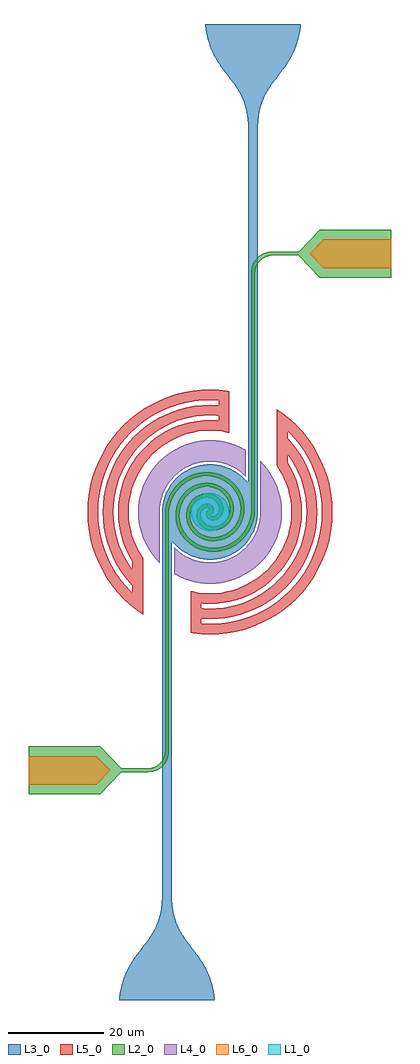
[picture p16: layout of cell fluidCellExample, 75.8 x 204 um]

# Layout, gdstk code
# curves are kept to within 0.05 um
import gdstk
lib = gdstk.Library(unit=1e-6, precision=1e-09)
def P(c, l, *ps):  # polygons
    for p in ps: c.add(gdstk.Polygon(p, *l))
L1_0 = (1, 0)
L2_0 = (2, 0)
L3_0 = (3, 0)
L4_0 = (4, 0)
L5_0 = (5, 0)
L6_0 = (6, 0)

fluidcellexample = lib.new_cell('fluidCellExample')
P(fluidcellexample, L1_0, [(0,-4),(-0.85,-3.909),(-1.662,-3.639),(-2.163,-3.365),(-2.828,-2.828),(-3.365,-2.163),(-3.639,-1.662),(-3.909,-0.85),(-4,0),(-3.909,0.85),(-3.639,1.662),(-3.365,2.163),(-2.828,2.828),(-2.163,3.365),(-1.662,3.639),(-0.85,3.909),(0,4),(0.85,3.909),(1.662,3.639),(2.163,3.365),(2.828,2.828),(3.365,2.163),(3.639,1.662),(3.909,0.85),(4,0),(3.909,-0.85),(3.639,-1.662),(3.365,-2.163),(2.828,-2.828),(2.163,-3.365),(1.662,-3.639),(0.85,-3.909)])
P(fluidcellexample, L2_0, [(0,-0.441),(0,1.575),(0.557,1.154),(0.742,0.816),(0.802,0.485),(0.753,0.164),(0.589,-0.126),(0.367,-0.306)],
  [(0.647,-1.703),(0,-1.575),(0,-0.495),(0.159,-0.748),(0.525,-0.896),(0.912,-0.867),(1.315,-0.671),(1.623,-0.363),(1.837,0.03),(1.943,0.47),(1.94,0.936),(1.734,1.62),(1.297,2.237),(0.714,2.684),(0,2.965),(0,3.783),(0.945,3.467),(1.796,2.869),(2.408,2.059),(2.73,1.065),(2.677,0.039),(2.51,-0.431),(2.249,-0.862),(1.92,-1.212),(1.522,-1.482),(1.075,-1.651)],
  [(0.691,-3.848),(0,-3.783),(0,-2.965),(0.757,-3.048),(1.597,-2.917),(2.355,-2.585),(3.014,-2.078),(3.559,-1.402),(3.92,-0.658),(4.116,0.134),(4.141,1.064),(4.035,1.71),(3.81,2.389),(3.108,3.531),(2.456,4.17),(1.673,4.686),(0.879,5.021),(0,5.221),(0,6.028),(0.955,5.834),(1.838,5.498),(2.733,4.966),(3.46,4.335),(4.023,3.65),(4.481,2.849),(4.8,1.949),(4.942,1.08),(4.921,0.121),(4.72,-0.792),(4.333,-1.666),(3.823,-2.386),(3.13,-3.029),(2.38,-3.475),(1.541,-3.757)],
  [(0.721,-6.07),(0,-6.028),(0,-5.221),(1.312,-5.236),(2.012,-5.109),(2.753,-4.866),(3.993,-4.165),(5.05,-3.144),(5.679,-2.185),(6.104,-1.159),(6.342,-0.049),(6.379,1.042),(6.241,2.08),(5.907,3.162),(5.384,4.189),(4.68,5.129),(3.7,6.036),(2.542,6.753),(1.388,7.205),(0,7.473),(0,8.277),(1.378,8.038),(2.605,7.607),(3.863,6.904),(4.956,6.001),(5.852,4.933),(6.498,3.809),(6.954,2.539),(7.178,1.083),(7.107,-0.359),(6.779,-1.664),(6.218,-2.859),(5.364,-4.004),(4.365,-4.884),(3.233,-5.531),(2.021,-5.928)],
  [(0.753,-8.307),(0,-8.277),(0,-7.473),(1.66,-7.448),(3.311,-7.049),(4.865,-6.282),(6.124,-5.285),(7.033,-4.236),(7.724,-3.105),(8.232,-1.86),(8.537,-0.533),(8.595,-0.039),(8.595,49.943),(9.395,49.943),(9.395,-0.075),(9.329,-0.65),(8.937,-2.279),(8.311,-3.709),(7.462,-4.994),(6.42,-6.102),(5.147,-7.049),(3.745,-7.741),(2.18,-8.178)],
  [(0,-1.575),(-0.557,-1.154),(-0.742,-0.816),(-0.802,-0.485),(-0.753,-0.164),(-0.589,0.126),(-0.367,0.306),(0,0.441)],
  [(0,-3.783),(-0.945,-3.467),(-1.796,-2.869),(-2.408,-2.059),(-2.716,-1.157),(-2.702,-0.15),(-2.396,0.645),(-1.785,1.318),(-1.417,1.533),(-0.967,1.674),(-0.481,1.696),(0,1.575),(0,0.495),(-0.159,0.748),(-0.525,0.896),(-0.936,0.86),(-1.339,0.653),(-1.653,0.322),(-1.857,-0.084),(-1.949,-0.531),(-1.927,-1.024),(-1.712,-1.664),(-1.297,-2.237),(-0.714,-2.684),(0,-2.965)],
  [(0,-6.028),(-0.955,-5.834),(-1.786,-5.523),(-2.592,-5.065),(-3.341,-4.454),(-3.991,-3.695),(-4.435,-2.946),(-4.759,-2.101),(-4.928,-1.234),(-4.944,-0.37),(-4.802,0.511),(-4.508,1.329),(-4.053,2.098),(-3.474,2.744),(-2.726,3.295),(-1.985,3.633),(-1.135,3.824),(0,3.783),(0,2.965),(-0.821,3.046),(-1.63,2.907),(-2.416,2.548),(-3.093,1.999),(-3.6,1.335),(-3.959,0.544),(-4.136,-0.3),(-4.128,-1.193),(-3.81,-2.389),(-3.108,-3.531),(-2.456,-4.17),(-1.673,-4.686),(-0.879,-5.021),(0,-5.221)],
  [(0,-8.277),(-1.378,-8.038),(-2.605,-7.607),(-3.797,-6.949),(-4.9,-6.056),(-5.808,-4.995),(-6.498,-3.809),(-6.935,-2.61),(-7.157,-1.375),(-7.159,-0.069),(-6.909,1.262),(-6.419,2.496),(-5.673,3.645),(-4.732,4.601),(-3.698,5.302),(-2.512,5.8),(-1.277,6.044),(0,6.028),(0,5.221),(-1.258,5.242),(-2.543,4.947),(-3.709,4.364),(-4.655,3.588),(-5.499,2.503),(-6.046,1.336),(-6.342,0.049),(-6.366,-1.237),(-6.196,-2.273),(-5.828,-3.348),(-5.31,-4.305),(-4.634,-5.181),(-3.7,-6.036),(-2.542,-6.753),(-1.388,-7.205),(0,-7.473)],
  [(-9.395,-49.943),(-9.395,0.075),(-9.315,0.743),(-8.937,2.279),(-8.222,3.868),(-7.291,5.204),(-6.082,6.389),(-4.769,7.268),(-3.257,7.912),(-1.592,8.261),(0,8.277),(0,7.473),(-1.584,7.457),(-3.164,7.101),(-4.594,6.448),(-5.887,5.506),(-6.834,4.498),(-7.608,3.327),(-8.179,2.022),(-8.511,0.703),(-8.595,0.039),(-8.595,-49.943)],
  [(-37.9,-59),(-37.9,-49),(-22.9,-49),(-18.5,-53.6),(-13,-53.6),(-12.172,-53.504),(-11.446,-53.247),(-10.741,-52.803),(-10.197,-52.259),(-9.781,-51.611),(-9.496,-50.828),(-9.4,-50),(-9.4,0),(-8.6,0),(-8.6,-50),(-8.718,-51.012),(-9.065,-51.97),(-9.574,-52.761),(-10.239,-53.426),(-11.03,-53.935),(-11.912,-54.263),(-12.921,-54.399),(-18.5,-54.4),(-22.9,-59)],
  [(8.6,0),(8.6,50),(8.718,51.012),(9.065,51.97),(9.574,52.761),(10.239,53.426),(11.03,53.935),(11.912,54.263),(12.921,54.399),(18.5,54.4),(22.9,59),(37.9,59),(37.9,49),(22.9,49),(18.5,53.6),(13,53.6),(12.172,53.504),(11.446,53.247),(10.741,52.803),(10.197,52.259),(9.781,51.611),(9.496,50.828),(9.4,50),(9.4,0)])
P(fluidcellexample, L3_0, [(-19,-102),(-18.815,-100.523),(-18.494,-98.966),(-18.076,-97.565),(-17.574,-96.301),(-16.916,-94.994),(-16.097,-93.662),(-12.955,-89.435),(-11.643,-87.313),(-11.057,-86.039),(-10.58,-84.623),(-10.267,-83.243),(-10.069,-81.71),(-10,-80),(-10,0),(-9.975,0.713),(-9.771,2.126),(-9.369,3.495),(-8.777,4.792),(-8.005,5.993),(-7.071,7.071),(-5.993,8.005),(-4.792,8.777),(-3.495,9.369),(-2.126,9.771),(-0.713,9.975),(0.713,9.975),(2.126,9.771),(3.495,9.369),(4.792,8.777),(5.993,8.005),(7.071,7.071),(8,5.999),(8,80),(7.91,81.939),(7.695,83.449),(7.367,84.809),(6.943,86.039),(6.357,87.313),(5.045,89.435),(1.903,93.662),(1.084,94.994),(0.426,96.301),(-0.076,97.565),(-0.494,98.966),(-0.815,100.523),(-1,102),(19,102),(18.815,100.523),(18.494,98.966),(18.076,97.565),(17.574,96.301),(16.916,94.994),(16.097,93.662),(12.955,89.435),(11.643,87.313),(11.057,86.039),(10.58,84.623),(10.267,83.243),(10.069,81.71),(10,80),(10,0),(9.975,-0.713),(9.771,-2.126),(9.369,-3.495),(8.777,-4.792),(8.005,-5.993),(7.071,-7.071),(5.993,-8.005),(4.792,-8.777),(3.495,-9.369),(2.126,-9.771),(0.713,-9.975),(-0.713,-9.975),(-2.126,-9.771),(-3.495,-9.369),(-4.792,-8.777),(-5.993,-8.005),(-7.071,-7.071),(-8,-5.999),(-8,-80),(-7.91,-81.939),(-7.695,-83.449),(-7.367,-84.809),(-6.943,-86.039),(-6.357,-87.313),(-5.045,-89.435),(-1.903,-93.662),(-1.084,-94.994),(-0.426,-96.301),(0.076,-97.565),(0.494,-98.966),(0.815,-100.523),(1,-102)])
P(fluidcellexample, L4_0, [(0,-15),(-2.135,-14.847),(-4.226,-14.392),(-6.231,-13.644),(-7.5,-12.981),(-7.5,-7.344),(-6.292,-8.406),(-5.032,-9.216),(-4.362,-9.551),(-2.958,-10.075),(-2.232,-10.26),(-1.494,-10.393),(0,-10.5),(1.494,-10.393),(2.232,-10.26),(3.669,-9.838),(5.032,-9.216),(5.677,-8.833),(6.292,-8.406),(7.425,-7.425),(8.406,-6.292),(9.216,-5.032),(9.551,-4.362),(10.075,-2.958),(10.393,-1.494),(10.5,0),(10.5,10.706),(12.008,8.989),(13.165,7.189),(14.054,5.242),(14.657,3.188),(14.962,1.07),(14.962,-1.07),(14.657,-3.188),(14.054,-5.242),(13.165,-7.189),(12.008,-8.989),(10.607,-10.607),(9.823,-11.336),(8.11,-12.619),(6.231,-13.644),(4.226,-14.392),(2.135,-14.847)],
  [(-10.5,-10.706),(-12.008,-8.989),(-12.619,-8.11),(-13.644,-6.231),(-14.392,-4.226),(-14.657,-3.188),(-14.962,-1.07),(-14.962,1.07),(-14.657,3.188),(-14.392,4.226),(-14.054,5.242),(-13.165,7.189),(-12.008,8.989),(-10.607,10.607),(-9.823,11.336),(-8.11,12.619),(-7.189,13.165),(-5.242,14.054),(-3.188,14.657),(-1.07,14.962),(1.07,14.962),(2.135,14.847),(3.188,14.657),(5.242,14.054),(6.231,13.644),(7.5,12.981),(7.5,7.344),(6.876,7.935),(5.677,8.833),(5.032,9.216),(3.669,9.838),(2.958,10.075),(1.494,10.393),(0,10.5),(-0.749,10.473),(-1.494,10.393),(-2.958,10.075),(-4.362,9.551),(-5.032,9.216),(-6.292,8.406),(-6.876,7.935),(-7.425,7.425),(-8.406,6.292),(-9.216,5.032),(-9.838,3.669),(-10.075,2.958),(-10.393,1.494),(-10.5,0)])
P(fluidcellexample, L5_0, [(0,-25.6),(-1.826,-25.535),(-4,-25.286),(-4,-16.513),(-2.419,-16.827),(0,-17),(1.213,-16.957),(3.614,-16.611),(5.941,-15.928),(7.062,-15.464),(8.147,-14.921),(10.188,-13.609),(11.133,-12.848),(12.848,-11.133),(13.609,-10.188),(14.921,-8.147),(15.928,-5.941),(16.611,-3.614),(16.957,-1.213),(17,0),(19.2,0),(19.005,-2.732),(18.761,-4.081),(18.422,-5.409),(17.465,-7.976),(16.152,-10.38),(15.37,-11.506),(14.51,-12.573),(12.573,-14.51),(10.38,-16.152),(9.202,-16.851),(7.976,-17.465),(5.409,-18.422),(2.732,-19.005),(1.37,-19.151),(0,-19.2),(-1.8,-19.105),(-1.8,-20.11),(0,-20.2),(1.441,-20.149),(2.875,-19.994),(4.294,-19.738),(5.691,-19.382),(7.059,-18.926),(8.391,-18.375),(9.681,-17.729),(10.921,-16.993),(12.105,-16.171),(13.228,-15.266),(14.284,-14.284),(15.266,-13.228),(16.171,-12.105),(16.993,-10.921),(17.729,-9.681),(18.375,-8.391),(18.926,-7.059),(19.382,-5.691),(19.738,-4.294),(19.994,-2.875),(20.149,-1.441),(20.2,0),(22.4,0),(22.343,-1.598),(22.172,-3.188),(21.888,-4.761),(21.493,-6.311),(20.988,-7.828),(20.376,-9.305),(19.66,-10.735),(18.844,-12.11),(17.932,-13.424),(16.929,-14.669),(15.839,-15.839),(14.669,-16.929),(13.424,-17.932),(12.11,-18.844),(10.735,-19.66),(9.305,-20.376),(7.828,-20.988),(6.311,-21.493),(4.761,-21.888),(3.188,-22.172),(1.598,-22.343),(0,-22.4),(-1.8,-22.321),(-1.8,-23.326),(0,-23.4),(1.669,-23.34),(3.33,-23.162),(4.974,-22.865),(6.593,-22.452),(8.177,-21.925),(9.721,-21.285),(11.214,-20.538),(12.651,-19.685),(14.023,-18.733),(15.324,-17.685),(16.546,-16.546),(17.685,-15.324),(18.733,-14.023),(19.685,-12.651),(20.538,-11.214),(21.285,-9.721),(21.925,-8.177),(22.452,-6.593),(22.865,-4.974),(23.162,-3.33),(23.34,-1.669),(23.4,0),(25.6,0),(25.535,-1.826),(25.339,-3.643),(25.015,-5.442),(24.563,-7.212),(23.986,-8.946),(23.287,-10.635),(22.469,-12.269),(21.536,-13.84),(20.494,-15.342),(19.347,-16.764),(18.102,-18.102),(16.764,-19.347),(15.342,-20.494),(13.84,-21.536),(12.269,-22.469),(10.635,-23.287),(8.946,-23.986),(7.212,-24.563),(5.442,-25.015),(3.643,-25.339),(1.826,-25.535)],
  [(17,0),(16.827,2.419),(16.311,4.789),(15.464,7.062),(14.921,8.147),(14,9.625),(14,21.425),(15.342,20.494),(16.764,19.347),(18.102,18.102),(19.347,16.764),(20.494,15.342),(21.536,13.84),(22.469,12.269),(23.287,10.635),(23.986,8.946),(24.563,7.212),(25.015,5.442),(25.339,3.643),(25.535,1.826),(25.6,0),(23.4,0),(23.34,1.669),(23.162,3.33),(22.865,4.974),(22.452,6.593),(21.925,8.177),(21.285,9.721),(20.538,11.214),(19.685,12.651),(18.733,14.023),(17.685,15.324),(16.2,16.869),(16.2,15.452),(17.932,13.424),(18.844,12.11),(19.66,10.735),(20.376,9.305),(20.988,7.828),(21.493,6.311),(21.888,4.761),(22.172,3.188),(22.343,1.598),(22.4,0),(20.2,0),(20.149,1.441),(19.994,2.875),(19.738,4.294),(19.382,5.691),(18.926,7.059),(18.375,8.391),(17.729,9.681),(16.993,10.921),(16.2,12.064),(16.2,10.3),(17.465,7.976),(18.422,5.409),(19.005,2.732),(19.151,1.37),(19.2,0)],
  [(-14,-21.425),(-15.342,-20.494),(-16.764,-19.347),(-18.102,-18.102),(-19.25,-16.869),(-16.2,-16.869),(-16.2,-15.452),(-17.932,-13.424),(-18.872,-12.064),(-16.2,-12.064),(-16.2,-10.3),(-17.465,-7.976),(-18.422,-5.409),(-19.005,-2.732),(-19.151,-1.37),(-19.2,0),(-19.005,2.732),(-18.422,5.409),(-17.989,6.71),(-16.851,9.202),(-15.37,11.506),(-14.51,12.573),(-12.573,14.51),(-10.38,16.152),(-7.976,17.465),(-5.409,18.422),(-4.081,18.761),(-1.37,19.151),(0,19.2),(1.8,19.105),(1.8,20.11),(0,20.2),(-1.441,20.149),(-2.875,19.994),(-4.294,19.738),(-5.691,19.382),(-7.059,18.926),(-8.391,18.375),(-9.681,17.729),(-10.921,16.993),(-12.105,16.171),(-13.228,15.266),(-14.284,14.284),(-15.266,13.228),(-16.171,12.105),(-16.993,10.921),(-17.729,9.681),(-18.375,8.391),(-18.926,7.059),(-19.382,5.691),(-19.738,4.294),(-19.994,2.875),(-20.149,1.441),(-20.2,0),(-20.149,-1.441),(-19.994,-2.875),(-19.738,-4.294),(-19.382,-5.691),(-18.926,-7.059),(-18.375,-8.391),(-17.729,-9.681),(-16.993,-10.921),(-16.2,-12.064),(-18.872,-12.064),(-19.66,-10.735),(-20.376,-9.305),(-20.988,-7.828),(-21.493,-6.311),(-21.888,-4.761),(-22.172,-3.188),(-22.343,-1.598),(-22.4,0),(-22.343,1.598),(-22.172,3.188),(-21.888,4.761),(-21.493,6.311),(-20.988,7.828),(-20.376,9.305),(-19.66,10.735),(-18.844,12.11),(-17.932,13.424),(-16.929,14.669),(-15.839,15.839),(-14.669,16.929),(-13.424,17.932),(-12.11,18.844),(-10.735,19.66),(-9.305,20.376),(-7.828,20.988),(-6.311,21.493),(-4.761,21.888),(-3.188,22.172),(-1.598,22.343),(0,22.4),(1.8,22.321),(1.8,23.326),(0,23.4),(-1.669,23.34),(-3.33,23.162),(-4.974,22.865),(-6.593,22.452),(-8.177,21.925),(-9.721,21.285),(-11.214,20.538),(-12.651,19.685),(-14.023,18.733),(-15.324,17.685),(-16.546,16.546),(-17.685,15.324),(-18.733,14.023),(-19.685,12.651),(-20.538,11.214),(-21.285,9.721),(-21.925,8.177),(-22.452,6.593),(-22.865,4.974),(-23.162,3.33),(-23.34,1.669),(-23.4,0),(-23.34,-1.669),(-23.162,-3.33),(-22.865,-4.974),(-22.452,-6.593),(-21.925,-8.177),(-21.285,-9.721),(-20.538,-11.214),(-19.685,-12.651),(-18.733,-14.023),(-17.685,-15.324),(-16.2,-16.869),(-19.25,-16.869),(-19.347,-16.764),(-20.494,-15.342),(-21.536,-13.84),(-22.469,-12.269),(-23.287,-10.635),(-23.986,-8.946),(-24.563,-7.212),(-25.015,-5.442),(-25.339,-3.643),(-25.535,-1.826),(-25.6,0),(-25.535,1.826),(-25.339,3.643),(-25.015,5.442),(-24.563,7.212),(-23.986,8.946),(-23.287,10.635),(-22.469,12.269),(-21.536,13.84),(-20.494,15.342),(-19.347,16.764),(-18.102,18.102),(-16.764,19.347),(-15.342,20.494),(-13.84,21.536),(-12.269,22.469),(-10.635,23.287),(-8.946,23.986),(-7.212,24.563),(-5.442,25.015),(-3.643,25.339),(-1.826,25.535),(0,25.6),(1.826,25.535),(4,25.286),(4,16.513),(2.419,16.827),(1.213,16.957),(-1.213,16.957),(-2.419,16.827),(-3.614,16.611),(-5.941,15.928),(-8.147,14.921),(-10.188,13.609),(-11.133,12.848),(-12.848,11.133),(-13.609,10.188),(-14.921,8.147),(-15.928,5.941),(-16.611,3.614),(-16.827,2.419),(-16.957,1.213),(-16.957,-1.213),(-16.611,-3.614),(-15.928,-5.941),(-14.921,-8.147),(-14,-9.625)])
P(fluidcellexample, L6_0, [(-37.9,-57),(-37.9,-51),(-23.755,-51),(-20.885,-54),(-23.755,-57)],
  [(23.755,51),(20.885,54),(23.755,57),(37.9,57),(37.9,51)])

lib.write_gds('fluidCellExample.gds')
